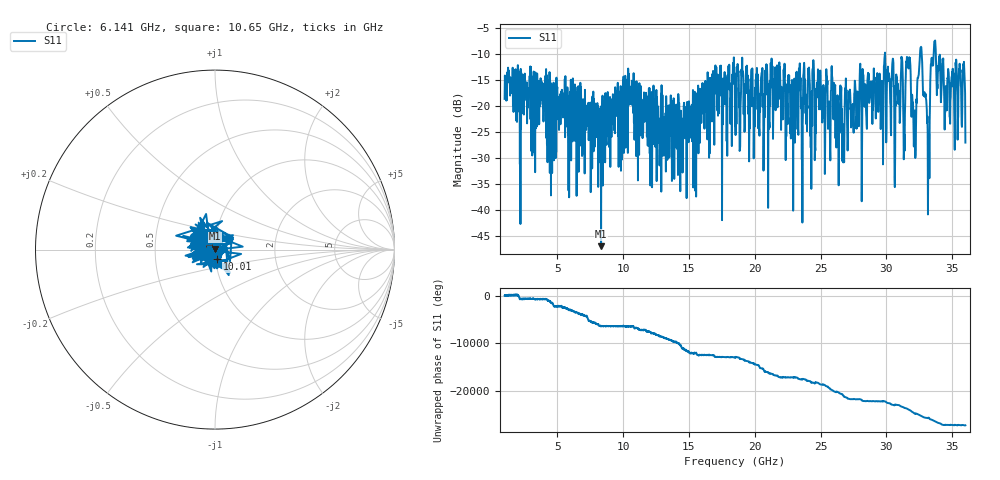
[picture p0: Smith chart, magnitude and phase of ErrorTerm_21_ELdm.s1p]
!  1-Port S-parameters saved by WinCal
! VAR NAME=Unknown labuser
! VAR Error Term Name=ELdm phys rcv port 2 phys src port 1
# Hz S RI R 50
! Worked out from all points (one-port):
!   1601 points, 1 GHz to 36 GHz, reference 50 ohm
!   lowest |S11| = -47.0 dB at 8.328 GHz (marker M1), VSWR 1.01, Z = 50 + j0.444 ohm
!   |S11| at or under -10 dB: start of sweep to 29.88 GHz; 29.9 GHz to 32.55 GHz (2.65 GHz wide, 8.49 % of centre); 33.76 GHz to end of sweep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
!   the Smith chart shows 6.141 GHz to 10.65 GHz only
!   S11 on the Smith chart (normalised r, x): 6.141 GHz: 0.78, +0.12; 10.01 GHz: 1.02, -0.11; 10.65 GHz: 0.80, -0.05
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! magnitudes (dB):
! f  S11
! 1 GHz  -18.6
! 5.375 GHz  -20.5
! 6.141 GHz  -17.1
! 8.328 GHz  -47.0
! 9.75 GHz  -21.6
! 10.01 GHz  -25.0
! 10.65 GHz  -19.0
! 12.72 GHz  -22.4
! 14.12 GHz  -26.2
! 18.5 GHz  -23.9
! 21.78 GHz  -16.3
! 22.88 GHz  -24.4
! 23.31 GHz  -25.6
! 24.43 GHz  -16.1
! 25.94 GHz  -16.4
! 26.31 GHz  -21.2
! 27.25 GHz  -17.6
! 29.98 GHz  -27.0
! 30.77 GHz  -16.2
! 31.45 GHz  -16.0
! 31.62 GHz  -12.5
! 32.06 GHz  -24.8
! 32.57 GHz  -9.4
! 33.16 GHz  -40.9
! 33.59 GHz  -9.9
! 34.51 GHz  -16.2
! 35.74 GHz  -24.0
! 36 GHz  -27.1
